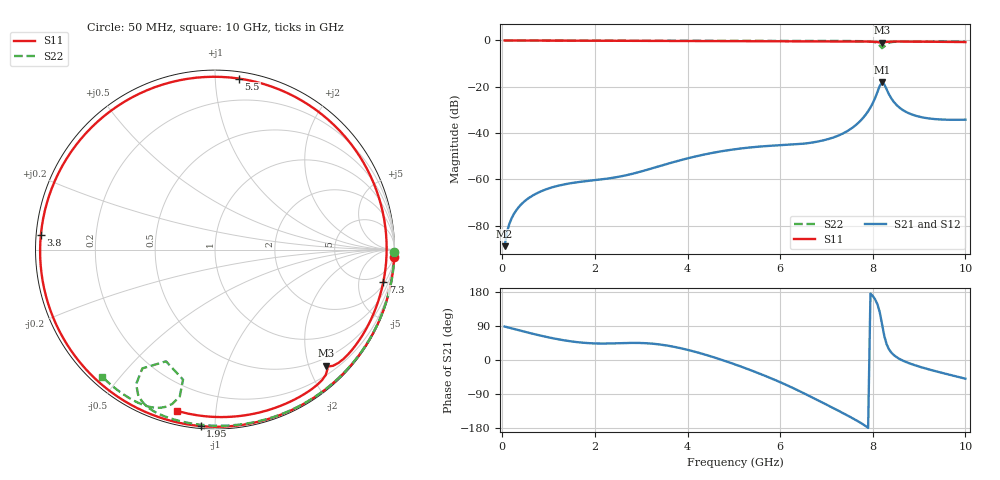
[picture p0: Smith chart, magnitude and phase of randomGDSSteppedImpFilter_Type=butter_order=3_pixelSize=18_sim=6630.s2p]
! freq	dB(S11)	phase(S11)	dB(S12)	phase(S12)
!  dB(S21)	phase(S21)	dB(S22)	phase(S22)
!S-par simulation data
#  GHz  S  DB  R 50
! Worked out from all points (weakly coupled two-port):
!   200 points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, 50 MHz to 10 GHz, reference 50 ohm
!   highest |S21| = -18.14 dB at 8.2 GHz (marker M1); lowest = -88.9 dB at 50 MHz (marker M2)
!   lowest |S11| = -1.0 dB at 8.2 GHz (marker M3), VSWR 18.21, Z = 17.5 - j115 ohm
!   |S11| at or under -10 dB: nowhere
!   |S22| runs from -3.4 to 0.0 dB; largest |S21 - S12| = 0
!   S11 on the Smith chart (normalised r, x): 50 MHz: 1, -45; 1.95 GHz: 0.01, -0.92; 3.8 GHz: 0.01, +0.04; 5.5 GHz: 0.04, +1.15; 7.3 GHz: 2, -10; 10 GHz: 0.07, -0.79
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0.05  -0.01 -2.5  -88.91 88.3  -88.91 88.3  -0.00 -0.8
0.15  -0.01 -7.5  -79.39 85.1  -79.39 85.1  -0.00 -2.3
0.4  -0.02 -19.8  -71.02 77.1  -71.02 77.1  -0.01 -6.1
0.7  -0.04 -34.5  -66.52 68.0  -66.52 68.0  -0.01 -10.7
1.75  -0.11 -85.2  -60.94 45.5  -60.94 45.5  -0.03 -26.5
1.95  -0.12 -94.7  -60.48 44.0  -60.48 44.0  -0.04 -29.4
2.65  -0.16 -128.1  -58.37 44.8  -58.37 44.8  -0.05 -39.7
3.4  -0.20 -164.7  -54.29 41.0  -54.29 41.0  -0.07 -50.4
3.8  -0.23 175.1  -52.01 32.5  -52.01 32.5  -0.08 -56.0
4.4  -0.27 143.4  -49.14 13.5  -49.14 13.5  -0.09 -64.3
5.05  -0.31 107.4  -46.95 -12.7  -46.95 -12.7  -0.11 -73.1
5.5  -0.33 82.0  -45.96 -33.3  -45.96 -33.3  -0.13 -79.0
6.15  -0.36 46.0  -45.11 -66.7  -45.11 -66.7  -0.16 -87.5
6.7  -0.37 17.5  -44.10 -99.5  -44.10 -99.5  -0.18 -94.6
7.3  -0.40 -10.9  -40.74 -136.5  -40.74 -136.5  -0.23 -102.6
7.85  -0.47 -34.3  -31.99 -174.7  -31.99 -174.7  -0.35 -111.6
8.1  -0.70 -44.5  -22.37 147.3  -22.37 147.3  -1.22 -120.4
8.2  -0.95 -46.2  -18.14 95.0  -18.14 95.0  -3.35 -113.7
8.35  -0.53 -50.7  -23.28 28.3  -23.28 28.3  -0.99 -105.5
8.55  -0.48 -58.4  -28.57 4.7  -28.57 4.7  -0.48 -111.6
8.9  -0.51 -70.4  -32.38 -13.4  -32.38 -13.4  -0.40 -117.6
10  -0.69 -103.2  -34.24 -49.3  -34.24 -49.3  -0.47 -131.5
